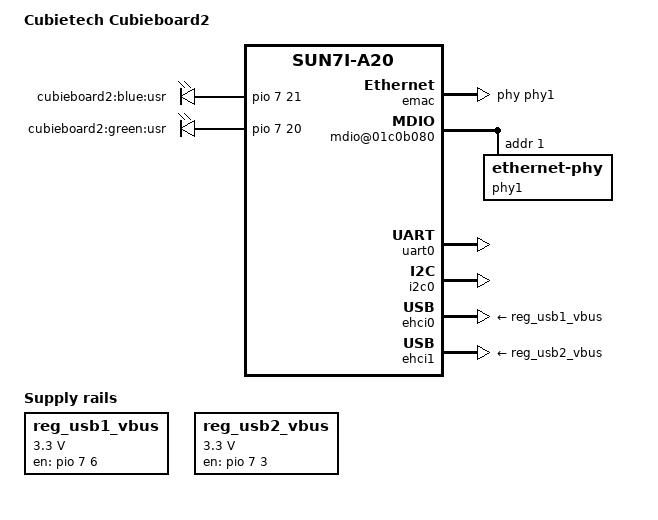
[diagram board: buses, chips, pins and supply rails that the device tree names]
/*
 * Copyright 2013 Maxime Ripard
 *
 * Maxime Ripard <maxime.ripard@free-electrons.com>
 *
 * The code contained herein is licensed under the GNU General Public
 * License. You may obtain a copy of the GNU General Public License
 * Version 2 or later at the following locations:
 *
 * http://www.opensource.org/licenses/gpl-license.html
 * http://www.gnu.org/copyleft/gpl.html
 */

/dts-v1/;
/include/ "sun7i-a20.dtsi"

/ {
	model = "Cubietech Cubieboard2";
	compatible = "cubietech,cubieboard2", "allwinner,sun7i-a20";

	soc@01c00000 {
		emac: ethernet@01c0b000 {
			pinctrl-names = "default";
			pinctrl-0 = <&emac_pins_a>;
			phy = <&phy1>;
			status = "okay";
		};

		mdio@01c0b080 {
			status = "okay";

			phy1: ethernet-phy@1 {
				reg = <1>;
			};
		};

		pinctrl@01c20800 {
			led_pins_cubieboard2: led_pins@0 {
				allwinner,pins = "PH20", "PH21";
				allwinner,function = "gpio_out";
				allwinner,drive = <0>;
				allwinner,pull = <0>;
			};

			usb1_vbus_pin: usb1_vbus_pin@0 {
					allwinner,pins = "PH6";
					allwinner,function = "gpio_out";
					allwinner,drive = <0>;
					allwinner,pull = <2>;
			};

			usb2_vbus_pin: usb2_vbus_pin@0 {
					allwinner,pins = "PH3";
					allwinner,function = "gpio_out";
					allwinner,drive = <0>;
					allwinner,pull = <2>;
			};
		};

		uart0: serial@01c28000 {
			pinctrl-names = "default";
			pinctrl-0 = <&uart0_pins_a>;
			status = "okay";
		};

		i2c0: i2c@01c2ac00 {
			pinctrl-names = "default";
			pinctrl-0 = <&i2c0_pins_a>;
			status = "okay";
		};

		i2c1: i2c@01c2b000 {
			pinctrl-names = "default";
			pinctrl-0 = <&i2c1_pins_a>;
		};

		ehci0: ehci0@0x01c14000 {
			vbus-supply = <&reg_usb1_vbus>;
			status = "okay";
		};

		ehci1: ehci1@0x01c1c000 {
			vbus-supply = <&reg_usb2_vbus>;
			status = "okay";
		};
	};

	leds {
		compatible = "gpio-leds";
		pinctrl-names = "default";
		pinctrl-0 = <&led_pins_cubieboard2>;

		blue {
			label = "cubieboard2:blue:usr";
			gpios = <&pio 7 21 0>;
		};

		green {
			label = "cubieboard2:green:usr";
			gpios = <&pio 7 20 0>;
		};
	};

	regulators {
		compatible = "simple-bus";

		reg_usb1_vbus: usb1-vbus {
			compatible = "regulator-fixed";
			pinctrl-names = "default";
			pinctrl-0 = <&usb1_vbus_pin>;
			regulator-name = "usb1-vbus";
			regulator-min-microvolt = <3300000>;
			regulator-max-microvolt = <3300000>;
			enable-active-high;
			gpio = <&pio 7 6 0>;
		};

		reg_usb2_vbus: usb2-vbus {
			compatible = "regulator-fixed";
			pinctrl-names = "default";
			pinctrl-0 = <&usb2_vbus_pin>;
			regulator-name = "usb2-vbus";
			regulator-min-microvolt = <3300000>;
			regulator-max-microvolt = <3300000>;
			enable-active-high;
			gpio = <&pio 7 3 0>;
		};
	};
};
